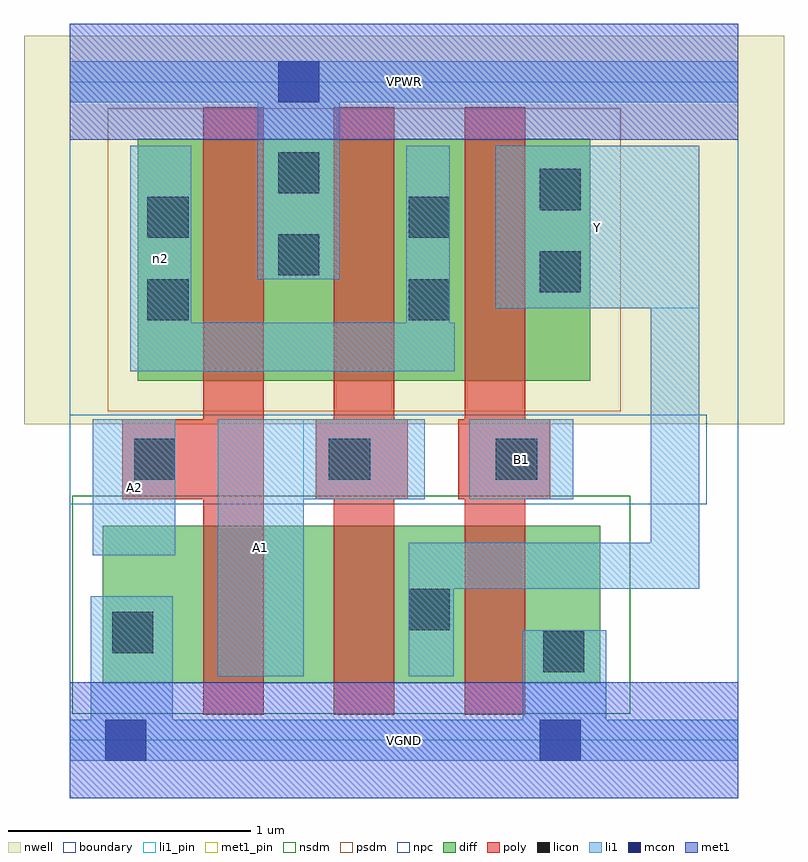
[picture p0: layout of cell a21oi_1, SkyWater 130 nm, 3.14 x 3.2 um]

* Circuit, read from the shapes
.subckt a21oi_1 A1 A2 B1 VGND VPWR Y n2
XM1 n1 A2 VGND VSUBS sky130_fd_pr__nfet_01v8 w=0.65 l=0.25
XM2 Y A1 n1 VSUBS sky130_fd_pr__nfet_01v8 w=0.65 l=0.25
XM3 VGND B1 Y VSUBS sky130_fd_pr__nfet_01v8 w=0.65 l=0.25
XM4 VPWR A2 n2 n3 sky130_fd_pr__pfet_01v8 w=1 l=0.25
XM5 n2 A1 VPWR n3 sky130_fd_pr__pfet_01v8 w=1 l=0.25
XM6 Y B1 n2 n3 sky130_fd_pr__pfet_01v8 w=1 l=0.25
.ends

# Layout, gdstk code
import gdstk
lib = gdstk.Library(unit=1e-6, precision=1e-09)
def R(c, l, rs):  # rectangles x0, y0, x1, y1
    for r in rs: c.add(gdstk.rectangle(r[:2], r[2:], *l))
def A(c, l, x, y, w, h, nx, ny, dx, dy):  # array of equal rectangles
    R(c, l, [(x+i*dx, y+j*dy, x+i*dx+w, y+j*dy+h) for i in range(nx) for j in range(ny)])
nwell = (64, 20)
diff = (65, 20)
poly = (66, 20)
licon = (66, 44)
li1_pin = (67, 16)
li1 = (67, 20)
mcon = (67, 44)
met1_pin = (68, 16)
met1 = (68, 20)
nsdm = (93, 44)
psdm = (94, 20)
npc = (95, 20)
boundary = (235, 4)

a21oi_1 = lib.new_cell('a21oi_1')
R(a21oi_1, nwell, [(-0.19,1.305,2.95,2.91), (0,1.305,2.76,2.91)])
R(a21oi_1, diff, [(0.135,0.235,2.19,0.885), (0.28,1.485,2.15,2.485)])
A(a21oi_1, poly, 0.55, 0.105, 0.25, 2.51, 3, 1, 0.54, 0)
R(a21oi_1, poly, [(0.215,0.995,0.8,1.325), (1.015,0.995,1.395,1.325), (1.605,0.995,1.985,1.325)])
R(a21oi_1, licon, [(1.955,0.28,2.125,0.45), (0.175,0.36,0.345,0.53), (1.4,0.455,1.57,0.625), (0.265,1.075,0.435,1.245), (1.07,1.075,1.24,1.245), (1.76,1.075,1.93,1.245), (0.32,1.735,0.49,1.905), (1.4,1.735,1.57,1.905), (1.94,1.85,2.11,2.02), (0.86,1.92,1.03,2.09), (0.32,2.075,0.49,2.245), (1.4,2.075,1.57,2.245), (1.94,2.19,2.11,2.36), (0.86,2.26,1.03,2.43)])
R(a21oi_1, li1_pin, [(0.61,0.265,0.965,1.325), (0.095,0.765,0.435,1.325), (1.65,0.995,2.08,1.325), (1.76,1.785,2.6,2.455)])
R(a21oi_1, li1, [(0,-0.085,2.76,0.085), (0.085,-0.085,0.425,0.595), (1.87,-0.085,2.215,0.455), (0.61,0.265,0.965,1.325), (1.4,0.265,1.585,0.815), (1.4,0.625,2.6,0.815), (2.4,0.625,2.6,2.455), (0.095,0.765,0.435,1.325), (0.61,0.995,1.465,1.325), (1.65,0.995,2.08,1.325), (0.25,1.525,0.5,2.455), (0.25,1.525,1.59,1.725), (1.39,1.525,1.57,2.455), (1.76,1.785,2.6,2.455), (0.775,1.905,1.115,2.805), (0,2.635,2.76,2.805)])
R(a21oi_1, mcon, [(0.145,-0.085,0.315,0.085), (1.94,-0.085,2.11,0.085), (0.86,2.635,1.03,2.805)])
R(a21oi_1, met1_pin, [(0,-0.24,2.76,0.24), (0,2.48,2.76,2.96)])
R(a21oi_1, met1, [(0,-0.24,2.76,0.24), (0,2.48,2.76,2.96)])
R(a21oi_1, nsdm, [(0.01,0.11,2.315,1.01)])
R(a21oi_1, psdm, [(0.155,1.36,2.275,2.61)])
R(a21oi_1, npc, [(0,0.975,2.63,1.345)])
R(a21oi_1, boundary, [(0,0,2.76,2.72)])
a21oi_1.add(gdstk.Label('A1', (0.787,0.795), layer=67, texttype=5))
a21oi_1.add(gdstk.Label('A2', (0.265,1.045), layer=67, texttype=5))
a21oi_1.add(gdstk.Label('B1', (1.865,1.16), layer=67, texttype=5))
a21oi_1.add(gdstk.Label('Y', (2.18,2.12), layer=67, texttype=5))
a21oi_1.add(gdstk.Label('n2', (0.375,1.99), layer=67, texttype=5))
a21oi_1.add(gdstk.Label('VPWR', (1.38,2.72), layer=68, texttype=5))
a21oi_1.add(gdstk.Label('VGND', (1.38,0), layer=68, texttype=5))
a21oi_1.add(gdstk.Label('A1', (0.787,0.795), layer=67, texttype=16))
a21oi_1.add(gdstk.Label('A2', (0.265,1.045), layer=67, texttype=16))
a21oi_1.add(gdstk.Label('B1', (1.865,1.16), layer=67, texttype=16))
a21oi_1.add(gdstk.Label('Y', (2.18,2.12), layer=67, texttype=16))
a21oi_1.add(gdstk.Label('VPWR', (1.38,2.72), layer=68, texttype=16))
a21oi_1.add(gdstk.Label('VGND', (1.38,0), layer=68, texttype=16))

lib.write_gds('a21oi_1.gds')
